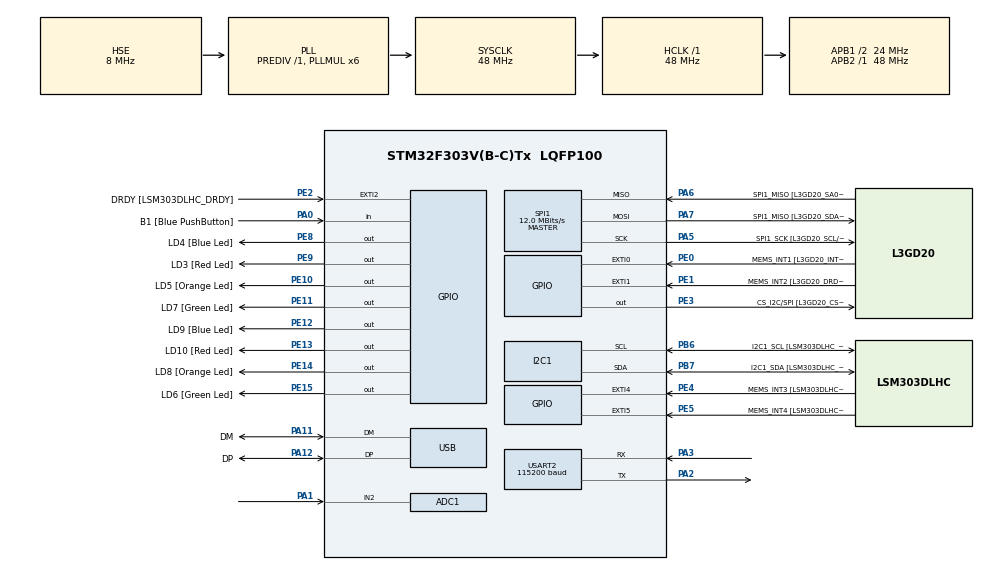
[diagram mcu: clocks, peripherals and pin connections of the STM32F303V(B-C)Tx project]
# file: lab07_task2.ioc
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ADC1.Channel-0\#ChannelRegularConversion=ADC_CHANNEL_2
ADC1.ContinuousConvMode=ENABLE
ADC1.NbrOfConversionFlag=1
ADC1.Offset-0\#ChannelRegularConversion=0
ADC1.OffsetNumber-0\#ChannelRegularConversion=ADC_OFFSET_NONE
ADC1.Rank-0\#ChannelRegularConversion=1
ADC1.SamplingTime-0\#ChannelRegularConversion=ADC_SAMPLETIME_1CYCLE_5
ADC1.SamplingTimeOPAMP-0\#ChannelRegularConversion=ADC_SAMPLETIME_19CYCLES_5
ADC1.master=1
I2C1.Timing=0x2000090E
I2C1.Timing-I2C=0x2000090E
Mcu.Family=STM32F3
Mcu.Name=STM32F303V(B-C)Tx
Mcu.Package=LQFP100
NVIC.PriorityGroup=NVIC_PRIORITYGROUP_0
PA0.GPIO_Label=B1 [Blue PushButton]
PA0.Signal=GPIO_Input
PA1.Mode=IN2-Single-Ended
PA1.Signal=ADC1_IN2
PA11.GPIO_Label=DM
PA11.Mode=Device
PA11.Signal=USB_DM
PA12.GPIO_Label=DP
PA12.Mode=Device
PA12.Signal=USB_DP
PA13.GPIO_Label=SWDIO
PA13.Mode=Serial_Wire
PA13.Signal=SYS_JTMS-SWDIO
PA14.GPIO_Label=SWCLK
PA14.Mode=Serial_Wire
PA14.Signal=SYS_JTCK-SWCLK
PA2.Mode=Asynchronous
PA2.Signal=USART2_TX
PA3.Mode=Asynchronous
PA3.Signal=USART2_RX
PA5.GPIO_Label=SPI1_SCK [L3GD20_SCL/SPC]
PA5.Mode=Full_Duplex_Master
PA5.Signal=SPI1_SCK
PA6.GPIO_Label=SPI1_MISO [L3GD20_SA0/SDO]
PA6.Mode=Full_Duplex_Master
PA6.Signal=SPI1_MISO
PA7.GPIO_Label=SPI1_MISO [L3GD20_SDA/SDI/SDO]
PA7.Mode=Full_Duplex_Master
PA7.Signal=SPI1_MOSI
PB3.GPIO_Label=SWO
PB3.Signal=SYS_JTDO-TRACESWO
PB6.GPIO_Label=I2C1_SCL [LSM303DLHC_SCL]
PB6.GPIO_Pu=GPIO_PULLUP
PB6.Mode=I2C
PB6.Signal=I2C1_SCL
PB7.GPIO_Label=I2C1_SDA [LSM303DLHC_SDA]
PB7.GPIO_Pu=GPIO_PULLUP
PB7.Mode=I2C
PB7.Signal=I2C1_SDA
PC14-OSC32_IN.GPIO_Label=OSC32_IN
PC14-OSC32_IN.Signal=RCC_OSC32_IN
PC15-OSC32_OUT.GPIO_Label=OSC32_OUT
PC15-OSC32_OUT.Signal=RCC_OSC32_OUT
PE0.GPIO_Label=MEMS_INT1 [L3GD20_INT1]
PE0.GPIO_ModeDefaultEXTI=GPIO_MODE_EVT_RISING
PE0.Signal=GPXTI0
PE1.GPIO_Label=MEMS_INT2 [L3GD20_DRDY/INT2]
PE1.GPIO_ModeDefaultEXTI=GPIO_MODE_EVT_RISING
PE1.Signal=GPXTI1
PE10.GPIO_Label=LD5 [Orange Led]
PE10.Signal=GPIO_Output
PE11.GPIO_Label=LD7 [Green Led]
PE11.Signal=GPIO_Output
PE12.GPIO_Label=LD9 [Blue Led]
PE12.Signal=GPIO_Output
PE13.GPIO_Label=LD10 [Red Led]
PE13.Signal=GPIO_Output
PE14.GPIO_Label=LD8 [Orange Led]
PE14.Signal=GPIO_Output
PE15.GPIO_Label=LD6 [Green Led]
PE15.Signal=GPIO_Output
PE2.GPIO_Label=DRDY [LSM303DLHC_DRDY]
PE2.GPIO_ModeDefaultEXTI=GPIO_MODE_EVT_RISING
PE2.Signal=GPXTI2
PE3.GPIO_Label=CS_I2C/SPI [L3GD20_CS_I2C/SPI]
PE3.Signal=GPIO_Output
PE4.GPIO_Label=MEMS_INT3 [LSM303DLHC_INT1]
PE4.GPIO_ModeDefaultEXTI=GPIO_MODE_EVT_RISING
PE4.Signal=GPXTI4
PE5.GPIO_Label=MEMS_INT4 [LSM303DLHC_INT2]
PE5.GPIO_ModeDefaultEXTI=GPIO_MODE_EVT_RISING
PE5.Signal=GPXTI5
PE8.GPIO_Label=LD4 [Blue Led]
PE8.Signal=GPIO_Output
PE9.GPIO_Label=LD3 [Red Led]
PE9.Signal=GPIO_Output
PF0-OSC_IN.GPIO_Label=OSC_IN
PF0-OSC_IN.Mode=HSE-External-Clock-Source
PF0-OSC_IN.Signal=RCC_OSC_IN
PF1-OSC_OUT.GPIO_Label=OSC_OUT
PF1-OSC_OUT.Signal=RCC_OSC_OUT
ProjectManager.HeapSize=0x200
ProjectManager.StackSize=0x400
ProjectManager.TargetToolchain=CMake
RCC.AHBFreq_Value=48000000
RCC.APB1CLKDivider=RCC_HCLK_DIV2
RCC.APB1Freq_Value=24000000
RCC.APB1TimFreq_Value=48000000
RCC.APB2Freq_Value=48000000
RCC.APB2TimFreq_Value=48000000
RCC.CortexFreq_Value=48000000
RCC.HCLKFreq_Value=48000000
RCC.HSE_VALUE=8000000
RCC.HSI_VALUE=8000000
RCC.LSE_VALUE=32768
RCC.PLLMUL=RCC_PLL_MUL6
RCC.SYSCLKFreq_VALUE=48000000
RCC.SYSCLKSourceVirtual=RCC_SYSCLKSOURCE_PLLCLK
RCC.USBFreq_Value=48000000
SPI1.BaudRatePrescaler=SPI_BAUDRATEPRESCALER_4
SPI1.BaudRatePrescaler-Full_Duplex_Master=SPI_BAUDRATEPRESCALER_2
SPI1.CalculateBaudRate=12.0 MBits/s
SPI1.CalculateBaudRate-Full_Duplex_Master=24.0 MBits/s
SPI1.Direction=SPI_DIRECTION_2LINES
SPI1.Mode=SPI_MODE_MASTER
SPI1.Mode-Full_Duplex_Master=SPI_MODE_MASTER
SPI1.VirtualType=VM_MASTER
STMicroelectronics.X-CUBE-ALGOBUILD.1.5.0.LibraryCcDSPOoLibraryJjDSPOoLibrary=true
USART2.BaudRate=115200
USART2.VirtualMode-Asynchronous=VM_ASYNC
VP_STMicroelectronics.X-CUBE-ALGOBUILD_VS_DSPOoLibraryJjLibrary_1.5.0_1.5.0.Mode=DSPOoLibraryJjLibrary
board=STM32F3DISCOVERY

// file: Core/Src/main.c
/* USER CODE BEGIN Header */
/**
  ******************************************************************************
  * @file           : main.c
  * @brief          : Main program body
  ******************************************************************************
  * @attention
  *
  * Copyright (c) 2026 STMicroelectronics.
  * All rights reserved.
  *
  * This software is licensed under terms that can be found in the LICENSE file
  * in the root directory of this software component.
  * If no LICENSE file comes with this software, it is provided AS-IS.
  *
  ******************************************************************************
  */
/* USER CODE END Header */
#include "main.h"

/* USER CODE BEGIN Includes */
#include <stdio.h>
#include <stdarg.h>
#include <string.h>
#include "arm_math.h"
/* USER CODE END Includes */

ADC_HandleTypeDef hadc1;

I2C_HandleTypeDef hi2c1;

SPI_HandleTypeDef hspi1;

UART_HandleTypeDef huart2;

PCD_HandleTypeDef hpcd_USB_FS;

/* USER CODE BEGIN PV */
#define FILTER_LEN 10

volatile uint32_t adc_val = 0;
volatile uint8_t adc_ready = 0;
float32_t inputBuffer[FILTER_LEN] = {0};
float32_t output = 0;
uint8_t buf_idx = 0;
/* USER CODE END PV */

void SystemClock_Config(void);
static void MX_GPIO_Init(void);
static void MX_I2C1_Init(void);
static void MX_SPI1_Init(void);
static void MX_USB_PCD_Init(void);
static void MX_ADC1_Init(void);
static void MX_USART2_UART_Init(void);

/* USER CODE BEGIN 0 */
void myPrintf(const char *fmt, ...){
  char buffer[100];
  va_list args;
  va_start(args, fmt);
  vsnprintf(buffer, sizeof(buffer), fmt, args);
  va_end(args);
  uint8_t length = strlen(buffer);
  HAL_UART_Transmit(&huart2, (uint8_t *)buffer, length, HAL_MAX_DELAY);
}

void apply_moving_average(float32_t new_sample)
{
    inputBuffer[buf_idx] = new_sample;
    buf_idx = (buf_idx + 1) % FILTER_LEN;
    arm_mean_f32(inputBuffer, FILTER_LEN, &output);
}
/* USER CODE END 0 */

int main(void)
{

  /* MCU Configuration--------------------------------------------------------*/

  /* Reset of all peripherals, Initializes the Flash interface and the Systick. */
  HAL_Init();

  /* Configure the system clock */
  SystemClock_Config();

  /* Initialize all configured peripherals */
  MX_GPIO_Init();
  MX_I2C1_Init();
  MX_SPI1_Init();
  MX_USB_PCD_Init();
  MX_ADC1_Init();
  MX_USART2_UART_Init();
  /* USER CODE BEGIN 2 */
  HAL_ADCEx_Calibration_Start(&hadc1, ADC_SINGLE_ENDED);
  HAL_ADC_Start(&hadc1);
  /* USER CODE END 2 */

  /* Infinite loop */
  while (1)
  {

    /* USER CODE BEGIN 3 */
  HAL_ADC_PollForConversion(&hadc1, HAL_MAX_DELAY);
  adc_val = HAL_ADC_GetValue(&hadc1);
  apply_moving_average((float32_t)adc_val);
  myPrintf("%lu,%lu\r\n", adc_val, (uint32_t)output);

  }

  /* USER CODE END 3 */
}

void SystemClock_Config(void)
{
  RCC_OscInitTypeDef RCC_OscInitStruct = {0};
  RCC_ClkInitTypeDef RCC_ClkInitStruct = {0};
  RCC_PeriphCLKInitTypeDef PeriphClkInit = {0};

  /** Initializes the RCC Oscillators according to the specified parameters
  * in the RCC_OscInitTypeDef structure.
  */
  RCC_OscInitStruct.OscillatorType = RCC_OSCILLATORTYPE_HSI|RCC_OSCILLATORTYPE_HSE;
  RCC_OscInitStruct.HSEState = RCC_HSE_BYPASS;
  RCC_OscInitStruct.HSEPredivValue = RCC_HSE_PREDIV_DIV1;
  RCC_OscInitStruct.HSIState = RCC_HSI_ON;
  RCC_OscInitStruct.HSICalibrationValue = RCC_HSICALIBRATION_DEFAULT;
  RCC_OscInitStruct.PLL.PLLState = RCC_PLL_ON;
  RCC_OscInitStruct.PLL.PLLSource = RCC_PLLSOURCE_HSE;
  RCC_OscInitStruct.PLL.PLLMUL = RCC_PLL_MUL6;
  if (HAL_RCC_OscConfig(&RCC_OscInitStruct) != HAL_OK)
  {
    Error_Handler();
  }

  /** Initializes the CPU, AHB and APB buses clocks
  */
  RCC_ClkInitStruct.ClockType = RCC_CLOCKTYPE_HCLK|RCC_CLOCKTYPE_SYSCLK
                              |RCC_CLOCKTYPE_PCLK1|RCC_CLOCKTYPE_PCLK2;
  RCC_ClkInitStruct.SYSCLKSource = RCC_SYSCLKSOURCE_PLLCLK;
  RCC_ClkInitStruct.AHBCLKDivider = RCC_SYSCLK_DIV1;
  RCC_ClkInitStruct.APB1CLKDivider = RCC_HCLK_DIV2;
  RCC_ClkInitStruct.APB2CLKDivider = RCC_HCLK_DIV1;

  if (HAL_RCC_ClockConfig(&RCC_ClkInitStruct, FLASH_LATENCY_1) != HAL_OK)
  {
    Error_Handler();
  }
  PeriphClkInit.PeriphClockSelection = RCC_PERIPHCLK_USB|RCC_PERIPHCLK_USART2
                              |RCC_PERIPHCLK_I2C1|RCC_PERIPHCLK_ADC12;
  PeriphClkInit.Usart2ClockSelection = RCC_USART2CLKSOURCE_PCLK1;
  PeriphClkInit.Adc12ClockSelection = RCC_ADC12PLLCLK_DIV1;
  PeriphClkInit.I2c1ClockSelection = RCC_I2C1CLKSOURCE_HSI;
  PeriphClkInit.USBClockSelection = RCC_USBCLKSOURCE_PLL;
  if (HAL_RCCEx_PeriphCLKConfig(&PeriphClkInit) != HAL_OK)
  {
    Error_Handler();
  }
}

static void MX_ADC1_Init(void)
{

  ADC_MultiModeTypeDef multimode = {0};
  ADC_ChannelConfTypeDef sConfig = {0};

  /** Common config
  */
  hadc1.Instance = ADC1;
  hadc1.Init.ClockPrescaler = ADC_CLOCK_ASYNC_DIV1;
  hadc1.Init.Resolution = ADC_RESOLUTION_12B;
  hadc1.Init.ScanConvMode = ADC_SCAN_DISABLE;
  hadc1.Init.ContinuousConvMode = ENABLE;
  hadc1.Init.DiscontinuousConvMode = DISABLE;
  hadc1.Init.ExternalTrigConvEdge = ADC_EXTERNALTRIGCONVEDGE_NONE;
  hadc1.Init.ExternalTrigConv = ADC_SOFTWARE_START;
  hadc1.Init.DataAlign = ADC_DATAALIGN_RIGHT;
  hadc1.Init.NbrOfConversion = 1;
  hadc1.Init.DMAContinuousRequests = DISABLE;
  hadc1.Init.EOCSelection = ADC_EOC_SINGLE_CONV;
  hadc1.Init.LowPowerAutoWait = DISABLE;
  hadc1.Init.Overrun = ADC_OVR_DATA_OVERWRITTEN;
  if (HAL_ADC_Init(&hadc1) != HAL_OK)
  {
    Error_Handler();
  }

  /** Configure the ADC multi-mode
  */
  multimode.Mode = ADC_MODE_INDEPENDENT;
  if (HAL_ADCEx_MultiModeConfigChannel(&hadc1, &multimode) != HAL_OK)
  {
    Error_Handler();
  }

  /** Configure Regular Channel
  */
  sConfig.Channel = ADC_CHANNEL_2;
  sConfig.Rank = ADC_REGULAR_RANK_1;
  sConfig.SingleDiff = ADC_SINGLE_ENDED;
  sConfig.SamplingTime = ADC_SAMPLETIME_1CYCLE_5;
  sConfig.OffsetNumber = ADC_OFFSET_NONE;
  sConfig.Offset = 0;
  if (HAL_ADC_ConfigChannel(&hadc1, &sConfig) != HAL_OK)
  {
    Error_Handler();
  }

}

static void MX_I2C1_Init(void)
{

  hi2c1.Instance = I2C1;
  hi2c1.Init.Timing = 0x2000090E;
  hi2c1.Init.OwnAddress1 = 0;
  hi2c1.Init.AddressingMode = I2C_ADDRESSINGMODE_7BIT;
  hi2c1.Init.DualAddressMode = I2C_DUALADDRESS_DISABLE;
  hi2c1.Init.OwnAddress2 = 0;
  hi2c1.Init.OwnAddress2Masks = I2C_OA2_NOMASK;
  hi2c1.Init.GeneralCallMode = I2C_GENERALCALL_DISABLE;
  hi2c1.Init.NoStretchMode = I2C_NOSTRETCH_DISABLE;
  if (HAL_I2C_Init(&hi2c1) != HAL_OK)
  {
    Error_Handler();
  }

  /** Configure Analogue filter
  */
  if (HAL_I2CEx_ConfigAnalogFilter(&hi2c1, I2C_ANALOGFILTER_ENABLE) != HAL_OK)
  {
    Error_Handler();
  }

  /** Configure Digital filter
  */
  if (HAL_I2CEx_ConfigDigitalFilter(&hi2c1, 0) != HAL_OK)
  {
    Error_Handler();
  }

}

static void MX_SPI1_Init(void)
{

  /* SPI1 parameter configuration*/
  hspi1.Instance = SPI1;
  hspi1.Init.Mode = SPI_MODE_MASTER;
  hspi1.Init.Direction = SPI_DIRECTION_2LINES;
  hspi1.Init.DataSize = SPI_DATASIZE_4BIT;
  hspi1.Init.CLKPolarity = SPI_POLARITY_LOW;
  hspi1.Init.CLKPhase = SPI_PHASE_1EDGE;
  hspi1.Init.NSS = SPI_NSS_SOFT;
  hspi1.Init.BaudRatePrescaler = SPI_BAUDRATEPRESCALER_4;
  hspi1.Init.FirstBit = SPI_FIRSTBIT_MSB;
  hspi1.Init.TIMode = SPI_TIMODE_DISABLE;
  hspi1.Init.CRCCalculation = SPI_CRCCALCULATION_DISABLE;
  hspi1.Init.CRCPolynomial = 7;
  hspi1.Init.CRCLength = SPI_CRC_LENGTH_DATASIZE;
  hspi1.Init.NSSPMode = SPI_NSS_PULSE_ENABLE;
  if (HAL_SPI_Init(&hspi1) != HAL_OK)
  {
    Error_Handler();
  }

}

static void MX_USART2_UART_Init(void)
{

  huart2.Instance = USART2;
  huart2.Init.BaudRate = 115200;
  huart2.Init.WordLength = UART_WORDLENGTH_8B;
  huart2.Init.StopBits = UART_STOPBITS_1;
  huart2.Init.Parity = UART_PARITY_NONE;
  huart2.Init.Mode = UART_MODE_TX_RX;
  huart2.Init.HwFlowCtl = UART_HWCONTROL_NONE;
  huart2.Init.OverSampling = UART_OVERSAMPLING_16;
  huart2.Init.OneBitSampling = UART_ONE_BIT_SAMPLE_DISABLE;
  huart2.AdvancedInit.AdvFeatureInit = UART_ADVFEATURE_NO_INIT;
  if (HAL_UART_Init(&huart2) != HAL_OK)
  {
    Error_Handler();
  }

}

static void MX_USB_PCD_Init(void)
{

  hpcd_USB_FS.Instance = USB;
  hpcd_USB_FS.Init.dev_endpoints = 8;
  hpcd_USB_FS.Init.speed = PCD_SPEED_FULL;
  hpcd_USB_FS.Init.phy_itface = PCD_PHY_EMBEDDED;
  hpcd_USB_FS.Init.low_power_enable = DISABLE;
  hpcd_USB_FS.Init.battery_charging_enable = DISABLE;
  if (HAL_PCD_Init(&hpcd_USB_FS) != HAL_OK)
  {
    Error_Handler();
  }

}

static void MX_GPIO_Init(void)
{
  GPIO_InitTypeDef GPIO_InitStruct = {0};

  /* GPIO Ports Clock Enable */
  __HAL_RCC_GPIOE_CLK_ENABLE();
  __HAL_RCC_GPIOC_CLK_ENABLE();
  __HAL_RCC_GPIOF_CLK_ENABLE();
  __HAL_RCC_GPIOA_CLK_ENABLE();
  __HAL_RCC_GPIOB_CLK_ENABLE();

  /*Configure GPIO pin Output Level */
  HAL_GPIO_WritePin(GPIOE, CS_I2C_SPI_Pin|LD4_Pin|LD3_Pin|LD5_Pin
                          |LD7_Pin|LD9_Pin|LD10_Pin|LD8_Pin
                          |LD6_Pin, GPIO_PIN_RESET);

  /*Configure GPIO pins : DRDY_Pin MEMS_INT3_Pin MEMS_INT4_Pin MEMS_INT1_Pin
                           MEMS_INT2_Pin */
  GPIO_InitStruct.Pin = DRDY_Pin|MEMS_INT3_Pin|MEMS_INT4_Pin|MEMS_INT1_Pin
                          |MEMS_INT2_Pin;
  GPIO_InitStruct.Mode = GPIO_MODE_EVT_RISING;
  GPIO_InitStruct.Pull = GPIO_NOPULL;
  HAL_GPIO_Init(GPIOE, &GPIO_InitStruct);

  /*Configure GPIO pins : CS_I2C_SPI_Pin LD4_Pin LD3_Pin LD5_Pin
                           LD7_Pin LD9_Pin LD10_Pin LD8_Pin
                           LD6_Pin */
  GPIO_InitStruct.Pin = CS_I2C_SPI_Pin|LD4_Pin|LD3_Pin|LD5_Pin
                          |LD7_Pin|LD9_Pin|LD10_Pin|LD8_Pin
                          |LD6_Pin;
  GPIO_InitStruct.Mode = GPIO_MODE_OUTPUT_PP;
  GPIO_InitStruct.Pull = GPIO_NOPULL;
  GPIO_InitStruct.Speed = GPIO_SPEED_FREQ_LOW;
  HAL_GPIO_Init(GPIOE, &GPIO_InitStruct);

  /*Configure GPIO pin : B1_Pin */
  GPIO_InitStruct.Pin = B1_Pin;
  GPIO_InitStruct.Mode = GPIO_MODE_INPUT;
  GPIO_InitStruct.Pull = GPIO_NOPULL;
  HAL_GPIO_Init(B1_GPIO_Port, &GPIO_InitStruct);

}

void Error_Handler(void)
{
  __disable_irq();
  while (1)
  {
  }
}
